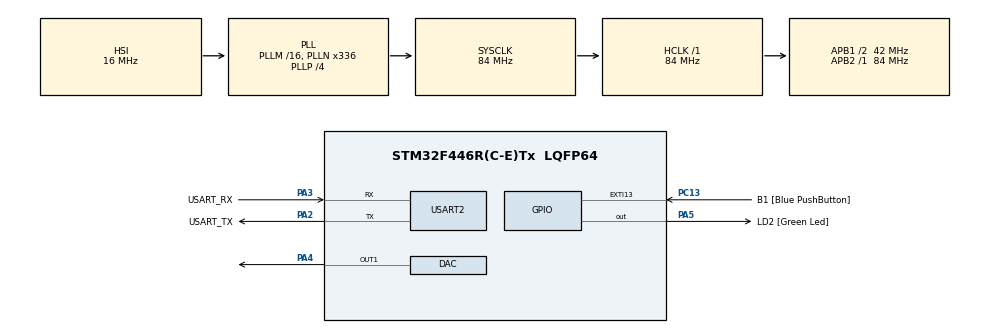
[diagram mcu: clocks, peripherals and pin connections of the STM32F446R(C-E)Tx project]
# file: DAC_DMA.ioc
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DAC.DAC_Trigger=DAC_TRIGGER_T2_TRGO
Dma.DAC1.0.Direction=DMA_MEMORY_TO_PERIPH
Dma.DAC1.0.FIFOMode=DMA_FIFOMODE_DISABLE
Dma.DAC1.0.Instance=DMA1_Stream5
Dma.DAC1.0.MemDataAlignment=DMA_MDATAALIGN_HALFWORD
Dma.DAC1.0.MemInc=DMA_MINC_ENABLE
Dma.DAC1.0.Mode=DMA_CIRCULAR
Dma.DAC1.0.PeriphDataAlignment=DMA_PDATAALIGN_HALFWORD
Dma.DAC1.0.PeriphInc=DMA_PINC_DISABLE
Dma.DAC1.0.Priority=DMA_PRIORITY_VERY_HIGH
Dma.Request0=DAC1
Dma.Request1=USART2_TX
Dma.USART2_TX.1.Direction=DMA_MEMORY_TO_PERIPH
Dma.USART2_TX.1.FIFOMode=DMA_FIFOMODE_DISABLE
Dma.USART2_TX.1.Instance=DMA1_Stream6
Dma.USART2_TX.1.MemDataAlignment=DMA_MDATAALIGN_BYTE
Dma.USART2_TX.1.MemInc=DMA_MINC_ENABLE
Dma.USART2_TX.1.Mode=DMA_CIRCULAR
Dma.USART2_TX.1.PeriphDataAlignment=DMA_PDATAALIGN_BYTE
Dma.USART2_TX.1.PeriphInc=DMA_PINC_DISABLE
Dma.USART2_TX.1.Priority=DMA_PRIORITY_VERY_HIGH
Mcu.Family=STM32F4
Mcu.Name=STM32F446R(C-E)Tx
Mcu.Package=LQFP64
NVIC.DMA1_Stream5_IRQn=true\:0\:0\:false\:false\:true\:false\:true\:true
NVIC.DMA1_Stream6_IRQn=true\:0\:0\:false\:false\:true\:false\:true\:true
NVIC.PriorityGroup=NVIC_PRIORITYGROUP_0
NVIC.TIM2_IRQn=true\:0\:0\:false\:false\:true\:true\:true\:true
NVIC.TIM6_DAC_IRQn=true\:0\:0\:false\:false\:true\:true\:true\:true
NVIC.USART2_IRQn=true\:0\:0\:false\:false\:true\:true\:true\:true
PA13.GPIO_Label=TMS
PA13.Mode=Serial_Wire
PA13.Signal=SYS_JTMS-SWDIO
PA14.GPIO_Label=TCK
PA14.Mode=Serial_Wire
PA14.Signal=SYS_JTCK-SWCLK
PA2.GPIO_Label=USART_TX
PA2.Mode=Asynchronous
PA2.Signal=USART2_TX
PA3.GPIO_Label=USART_RX
PA3.Mode=Asynchronous
PA3.Signal=USART2_RX
PA4.Signal=COMP_DAC1_group
PA5.GPIO_Label=LD2 [Green Led]
PA5.Signal=GPIO_Output
PB3.GPIO_Label=SWO
PB3.Signal=SYS_JTDO-SWO
PC13.GPIO_Label=B1 [Blue PushButton]
PC13.GPIO_ModeDefaultEXTI=GPIO_MODE_IT_FALLING
PC13.Signal=GPXTI13
PC14-OSC32_IN.Mode=LSE-External-Oscillator
PC14-OSC32_IN.Signal=RCC_OSC32_IN
PC15-OSC32_OUT.Mode=LSE-External-Oscillator
PC15-OSC32_OUT.Signal=RCC_OSC32_OUT
PH0-OSC_IN.Mode=HSE-External-Oscillator
PH0-OSC_IN.Signal=RCC_OSC_IN
PH1-OSC_OUT.Mode=HSE-External-Oscillator
PH1-OSC_OUT.Signal=RCC_OSC_OUT
ProjectManager.HeapSize=0x200
ProjectManager.StackSize=0x400
ProjectManager.TargetToolchain=STM32CubeIDE
RCC.48MHZClocksFreq_Value=84000000
RCC.AHBFreq_Value=84000000
RCC.APB1CLKDivider=RCC_HCLK_DIV2
RCC.APB1Freq_Value=42000000
RCC.APB1TimFreq_Value=84000000
RCC.APB2Freq_Value=84000000
RCC.APB2TimFreq_Value=84000000
RCC.CortexFreq_Value=84000000
RCC.FLatency-AdvancedSettings=FLASH_LATENCY_2
RCC.HCLKFreq_Value=84000000
RCC.HSE_VALUE=8000000
RCC.HSI_VALUE=16000000
RCC.PLLN=336
RCC.PLLP=RCC_PLLP_DIV4
RCC.SYSCLKFreq_VALUE=84000000
RCC.SYSCLKSource=RCC_SYSCLKSOURCE_PLLCLK
RCC.USBFreq_Value=168000000
RCC.VCOOutputFreq_Value=336000000
SH.COMP_DAC1_group.0=DAC_OUT1,DAC_OUT1
TIM2.Period=25000-1
TIM2.Prescaler=8400-1
TIM2.TIM_MasterOutputTrigger=TIM_TRGO_UPDATE
USART2.VirtualMode=VM_ASYNC
VP_TIM2_VS_ClockSourceINT.Mode=Internal
board=NUCLEO-F446RE

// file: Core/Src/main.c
/* USER CODE BEGIN Header */
/**
  ******************************************************************************
  * @file           : main.c
  * @brief          : Main program body
  ******************************************************************************
  * @attention
  *
  * Copyright (c) 2024 STMicroelectronics.
  * All rights reserved.
  *
  * This software is licensed under terms that can be found in the LICENSE file
  * in the root directory of this software component.
  * If no LICENSE file comes with this software, it is provided AS-IS.
  *
  ******************************************************************************
  */
/* USER CODE END Header */
#include "main.h"

DAC_HandleTypeDef hdac;
DMA_HandleTypeDef hdma_dac1;

TIM_HandleTypeDef htim2;

UART_HandleTypeDef huart2;
DMA_HandleTypeDef hdma_usart2_tx;

void SystemClock_Config(void);
static void MX_GPIO_Init(void);
static void MX_DMA_Init(void);
static void MX_USART2_UART_Init(void);
static void MX_DAC_Init(void);
static void MX_TIM2_Init(void);

/* USER CODE BEGIN 0 */

char buffer[100] ;

float voltages[10] = {0.25 , 0.5, 1.0, 1.5, 2.0, 2.5, 3.0, 3.3 } ;
uint16_t dac_values[10] ;

void HAL_UART_TxCpltCallback(UART_HandleTypeDef *huart){

	if( huart == &huart2 ){
		HAL_UART_DMAPause( &huart2 );
	}

}

void HAL_TIM_PeriodElapsedCallback(TIM_HandleTypeDef *htim){

	static int i = 0;

	if( htim == &htim2 ){
		sprintf(buffer, "%04d \n", dac_values[i]);
		HAL_UART_DMAResume( &huart2 );
	}

	i++;
	if(i >= 7){
		i = 0;
	}

}

/* USER CODE END 0 */

int main(void)
{

  /* MCU Configuration--------------------------------------------------------*/

  /* Reset of all peripherals, Initializes the Flash interface and the Systick. */
  HAL_Init();

  /* Configure the system clock */
  SystemClock_Config();

  /* Initialize all configured peripherals */
  MX_GPIO_Init();
  MX_DMA_Init();
  MX_USART2_UART_Init();
  MX_DAC_Init();
  MX_TIM2_Init();
  /* USER CODE BEGIN 2 */
  sprintf(buffer, "Hello World! \n");

  HAL_TIM_Base_Start_IT(&htim2);
  HAL_StatusTypeDef result2 = HAL_UART_Transmit_DMA(&huart2, buffer, strlen(buffer));

  //HAL_DAC_Start( &hdac , DAC_CHANNEL_1 );

  int i;
  for(i = 0 ; i < 8 ; i++){
	  dac_values[i] = (uint16_t)( ( voltages[i] / 3.3 ) * 4095 ) ;
  }
  HAL_StatusTypeDef result = HAL_DAC_Start_DMA(&hdac, DAC_CHANNEL_1, dac_values, 8, DAC_ALIGN_12B_R);
  //HAL_DAC_SetValue( &hdac, DAC_CHANNEL_1, DAC_ALIGN_12B_R, dac_value ) ;

  /* USER CODE END 2 */

  /* Infinite loop */
  while (1)
  {

  }
}

void SystemClock_Config(void)
{
  RCC_OscInitTypeDef RCC_OscInitStruct = {0};
  RCC_ClkInitTypeDef RCC_ClkInitStruct = {0};

  /** Configure the main internal regulator output voltage
  */
  __HAL_RCC_PWR_CLK_ENABLE();
  __HAL_PWR_VOLTAGESCALING_CONFIG(PWR_REGULATOR_VOLTAGE_SCALE3);

  /** Initializes the RCC Oscillators according to the specified parameters
  * in the RCC_OscInitTypeDef structure.
  */
  RCC_OscInitStruct.OscillatorType = RCC_OSCILLATORTYPE_HSI;
  RCC_OscInitStruct.HSIState = RCC_HSI_ON;
  RCC_OscInitStruct.HSICalibrationValue = RCC_HSICALIBRATION_DEFAULT;
  RCC_OscInitStruct.PLL.PLLState = RCC_PLL_ON;
  RCC_OscInitStruct.PLL.PLLSource = RCC_PLLSOURCE_HSI;
  RCC_OscInitStruct.PLL.PLLM = 16;
  RCC_OscInitStruct.PLL.PLLN = 336;
  RCC_OscInitStruct.PLL.PLLP = RCC_PLLP_DIV4;
  RCC_OscInitStruct.PLL.PLLQ = 2;
  RCC_OscInitStruct.PLL.PLLR = 2;
  if (HAL_RCC_OscConfig(&RCC_OscInitStruct) != HAL_OK)
  {
    Error_Handler();
  }

  /** Initializes the CPU, AHB and APB buses clocks
  */
  RCC_ClkInitStruct.ClockType = RCC_CLOCKTYPE_HCLK|RCC_CLOCKTYPE_SYSCLK
                              |RCC_CLOCKTYPE_PCLK1|RCC_CLOCKTYPE_PCLK2;
  RCC_ClkInitStruct.SYSCLKSource = RCC_SYSCLKSOURCE_PLLCLK;
  RCC_ClkInitStruct.AHBCLKDivider = RCC_SYSCLK_DIV1;
  RCC_ClkInitStruct.APB1CLKDivider = RCC_HCLK_DIV2;
  RCC_ClkInitStruct.APB2CLKDivider = RCC_HCLK_DIV1;

  if (HAL_RCC_ClockConfig(&RCC_ClkInitStruct, FLASH_LATENCY_2) != HAL_OK)
  {
    Error_Handler();
  }
}

static void MX_DAC_Init(void)
{

  DAC_ChannelConfTypeDef sConfig = {0};

  /** DAC Initialization
  */
  hdac.Instance = DAC;
  if (HAL_DAC_Init(&hdac) != HAL_OK)
  {
    Error_Handler();
  }

  /** DAC channel OUT1 config
  */
  sConfig.DAC_Trigger = DAC_TRIGGER_T2_TRGO;
  sConfig.DAC_OutputBuffer = DAC_OUTPUTBUFFER_ENABLE;
  if (HAL_DAC_ConfigChannel(&hdac, &sConfig, DAC_CHANNEL_1) != HAL_OK)
  {
    Error_Handler();
  }

}

static void MX_TIM2_Init(void)
{

  TIM_ClockConfigTypeDef sClockSourceConfig = {0};
  TIM_MasterConfigTypeDef sMasterConfig = {0};

  htim2.Instance = TIM2;
  htim2.Init.Prescaler = 8400-1;
  htim2.Init.CounterMode = TIM_COUNTERMODE_UP;
  htim2.Init.Period = 25000-1;
  htim2.Init.ClockDivision = TIM_CLOCKDIVISION_DIV1;
  htim2.Init.AutoReloadPreload = TIM_AUTORELOAD_PRELOAD_DISABLE;
  if (HAL_TIM_Base_Init(&htim2) != HAL_OK)
  {
    Error_Handler();
  }
  sClockSourceConfig.ClockSource = TIM_CLOCKSOURCE_INTERNAL;
  if (HAL_TIM_ConfigClockSource(&htim2, &sClockSourceConfig) != HAL_OK)
  {
    Error_Handler();
  }
  sMasterConfig.MasterOutputTrigger = TIM_TRGO_UPDATE;
  sMasterConfig.MasterSlaveMode = TIM_MASTERSLAVEMODE_DISABLE;
  if (HAL_TIMEx_MasterConfigSynchronization(&htim2, &sMasterConfig) != HAL_OK)
  {
    Error_Handler();
  }

}

static void MX_USART2_UART_Init(void)
{

  huart2.Instance = USART2;
  huart2.Init.BaudRate = 115200;
  huart2.Init.WordLength = UART_WORDLENGTH_8B;
  huart2.Init.StopBits = UART_STOPBITS_1;
  huart2.Init.Parity = UART_PARITY_NONE;
  huart2.Init.Mode = UART_MODE_TX_RX;
  huart2.Init.HwFlowCtl = UART_HWCONTROL_NONE;
  huart2.Init.OverSampling = UART_OVERSAMPLING_16;
  if (HAL_UART_Init(&huart2) != HAL_OK)
  {
    Error_Handler();
  }

}

static void MX_DMA_Init(void)
{

  /* DMA controller clock enable */
  __HAL_RCC_DMA1_CLK_ENABLE();

  /* DMA interrupt init */
  /* DMA1_Stream5_IRQn interrupt configuration */
  HAL_NVIC_SetPriority(DMA1_Stream5_IRQn, 0, 0);
  HAL_NVIC_EnableIRQ(DMA1_Stream5_IRQn);
  /* DMA1_Stream6_IRQn interrupt configuration */
  HAL_NVIC_SetPriority(DMA1_Stream6_IRQn, 0, 0);
  HAL_NVIC_EnableIRQ(DMA1_Stream6_IRQn);

}

static void MX_GPIO_Init(void)
{
  GPIO_InitTypeDef GPIO_InitStruct = {0};

  /* GPIO Ports Clock Enable */
  __HAL_RCC_GPIOC_CLK_ENABLE();
  __HAL_RCC_GPIOH_CLK_ENABLE();
  __HAL_RCC_GPIOA_CLK_ENABLE();
  __HAL_RCC_GPIOB_CLK_ENABLE();

  /*Configure GPIO pin Output Level */
  HAL_GPIO_WritePin(LD2_GPIO_Port, LD2_Pin, GPIO_PIN_RESET);

  /*Configure GPIO pin : B1_Pin */
  GPIO_InitStruct.Pin = B1_Pin;
  GPIO_InitStruct.Mode = GPIO_MODE_IT_FALLING;
  GPIO_InitStruct.Pull = GPIO_NOPULL;
  HAL_GPIO_Init(B1_GPIO_Port, &GPIO_InitStruct);

  /*Configure GPIO pin : LD2_Pin */
  GPIO_InitStruct.Pin = LD2_Pin;
  GPIO_InitStruct.Mode = GPIO_MODE_OUTPUT_PP;
  GPIO_InitStruct.Pull = GPIO_NOPULL;
  GPIO_InitStruct.Speed = GPIO_SPEED_FREQ_LOW;
  HAL_GPIO_Init(LD2_GPIO_Port, &GPIO_InitStruct);

}

void Error_Handler(void)
{
  __disable_irq();
  while (1)
  {
  }
}
